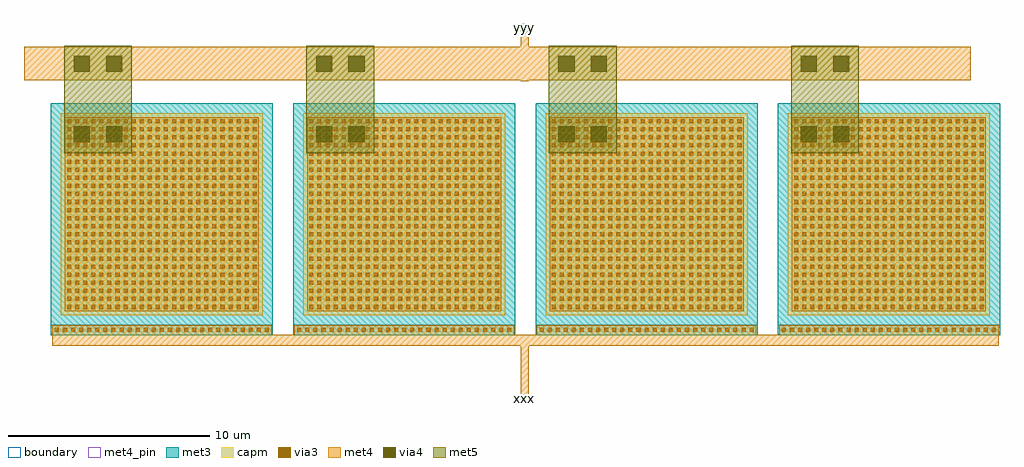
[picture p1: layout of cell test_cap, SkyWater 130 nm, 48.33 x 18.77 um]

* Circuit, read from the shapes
.subckt test_cap xxx yyy
XC1 yyy xxx sky130_fd_pr__cap_mim_m3_1 w=10 l=10 m=4
.ends

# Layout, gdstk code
from math import pi, radians
import gdstk
lib = gdstk.Library(unit=1e-6, precision=1e-09)
def R(c, l, rs):  # rectangles x0, y0, x1, y1
    for r in rs: c.add(gdstk.rectangle(r[:2], r[2:], *l))
def A(c, l, x, y, w, h, nx, ny, dx, dy):  # array of equal rectangles
    R(c, l, [(x+i*dx, y+j*dy, x+i*dx+w, y+j*dy+h) for i in range(nx) for j in range(ny)])
met3 = (70, 20)
via3 = (70, 44)
met4_pin = (71, 16)
met4 = (71, 20)
via4 = (71, 44)
met5 = (72, 20)
capm = (89, 44)
boundary = (235, 4)

sky130_fd_pr__cap_mim_m3 = lib.new_cell('sky130_fd_pr__cap_mim_m3_1_6ZNTNB')
R(sky130_fd_pr__cap_mim_m3, met3, [(-5.75,-5.5,5.745,5.5)])
A(sky130_fd_pr__cap_mim_m3, via3, 5.385, -5.3, 0.2, 0.2, 1, 27, 0, 0.4)
A(sky130_fd_pr__cap_mim_m3, via3, -4.95, -4.7, 0.2, 0.2, 24, 24, 0.4, 0.4)
R(sky130_fd_pr__cap_mim_m3, met4, [(5.245,-5.44,5.725,5.44), (-5.055,-4.805,4.555,4.805)])
R(sky130_fd_pr__cap_mim_m3, capm, [(-5.25,-5,4.75,5)])
R(sky130_fd_pr__cap_mim_m3, boundary, [(-5.75,-5.5,5.25,5.5)])

contact_11 = lib.new_cell('contact$11')
R(contact_11, met4, [(-1.39,-0.59,1.39,0.59)])
R(contact_11, via4, [(-1.2,-0.4,-0.4,0.4), (0.4,-0.4,1.2,0.4)])
R(contact_11, met5, [(-1.51,-0.71,1.51,0.71)])

test_cap = lib.new_cell('test_cap')
R(test_cap, met4_pin, [(16.73,-4.52,17.12,-4.125), (16.735,13.815,17.12,14.215)])
R(test_cap, met4, [(16.725,-4.545,17.12,-1.705), (-6.485,-1.705,40.395,-1.165), (16.73,11.395,17.125,14.225), (-7.875,11.435,39.005,13.085)])
A(test_cap, met5, -5.89, 7.83, 3.355, 5.305, 4, 1, 12, 0)
r = gdstk.Reference(sky130_fd_pr__cap_mim_m3, (-1.045,4.56), rotation=3*pi/2); r.repetition = gdstk.Repetition(1, 4, v1=(0,0), v2=(12,0)); test_cap.add(r)
r = gdstk.Reference(contact_11, (-4.21,8.76)); r.repetition = gdstk.Repetition(4, 2, v1=(12,0), v2=(0,3.5)); test_cap.add(r)
test_cap.add(gdstk.Label('yyy', (16.9,14.03), layer=71, texttype=5))
test_cap.add(gdstk.Label('xxx', (16.91,-4.32), layer=71, texttype=5))

lib.write_gds('test_cap.gds')
